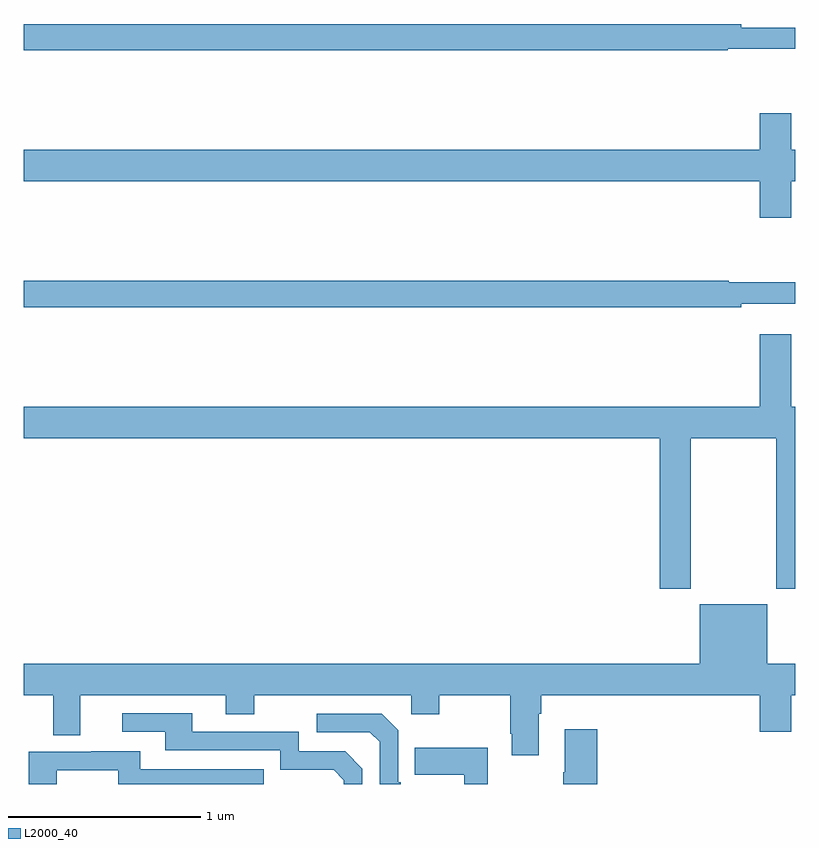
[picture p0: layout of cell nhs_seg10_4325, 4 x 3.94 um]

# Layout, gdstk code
import gdstk
lib = gdstk.Library(unit=1e-6, precision=1e-09)
def P(c, l, *ps):  # polygons
    for p in ps: c.add(gdstk.Polygon(p, *l))
L2000_40 = (2000, 40)

nhs_seg10_4325 = lib.new_cell('nhs_seg10_4325')
P(nhs_seg10_4325, L2000_40, [(356.65,1326.312),(357,1326.312),(357,1326.421),(356.72,1326.421),(356.72,1326.44),(353,1326.44),(353,1326.304),(356.65,1326.304)],
  [(356.98,1325.624),(357,1325.624),(357,1325.788),(356.98,1325.788),(356.98,1325.977),(356.816,1325.977),(356.816,1325.788),(353,1325.788),(353,1325.624),(356.816,1325.624),(356.816,1325.436),(356.98,1325.436)],
  [(356.72,1324.991),(357,1324.991),(357,1325.101),(356.655,1325.101),(356.655,1325.108),(353,1325.108),(353,1324.972),(356.72,1324.972)],
  [(356.457,1324.292),(356.902,1324.292),(356.902,1323.513),(357,1323.513),(357,1324.456),(356.98,1324.456),(356.98,1324.831),(356.816,1324.831),(356.816,1324.456),(353,1324.456),(353,1324.292),(356.297,1324.292),(356.297,1323.513),(356.457,1323.513)],
  [(355.669,1322.864),(355.682,1322.864),(355.682,1322.96),(356.816,1322.96),(356.816,1322.772),(356.98,1322.772),(356.98,1322.96),(357,1322.96),(357,1323.124),(356.854,1323.124),(356.854,1323.433),(356.504,1323.433),(356.504,1323.124),(353,1323.124),(353,1322.96),(353.153,1322.96),(353.153,1322.752),(353.293,1322.752),(353.293,1322.96),(354.047,1322.96),(354.047,1322.861),(354.195,1322.861),(354.195,1322.96),(355.008,1322.96),(355.008,1322.861),(355.155,1322.861),(355.155,1322.96),(355.522,1322.96),(355.522,1322.761),(355.529,1322.761),(355.529,1322.649),(355.669,1322.649)],
  [(354.756,1322.58),(354.666,1322.67),(354.426,1322.67),(354.426,1322.772),(353.875,1322.772),(353.875,1322.868),(353.511,1322.868),(353.511,1322.772),(353.735,1322.772),(353.735,1322.676),(354.33,1322.676),(354.33,1322.573),(354.607,1322.573),(354.66,1322.52),(354.66,1322.5),(354.756,1322.5)],
  [(354.955,1322.509),(354.942,1322.509),(354.942,1322.778),(354.855,1322.865),(354.519,1322.865),(354.519,1322.769),(354.795,1322.769),(354.846,1322.718),(354.846,1322.5),(354.955,1322.5)],
  [(355.973,1322.785),(355.805,1322.785),(355.805,1322.561),(355.798,1322.561),(355.798,1322.5),(355.973,1322.5)],
  [(355.405,1322.689),(355.027,1322.689),(355.027,1322.549),(355.284,1322.549),(355.284,1322.5),(355.405,1322.5)],
  [(353.172,1322.571),(353.49,1322.571),(353.49,1322.5),(354.245,1322.5),(354.245,1322.577),(353.605,1322.577),(353.605,1322.671),(353.351,1322.671),(353.351,1322.667),(353.027,1322.667),(353.027,1322.5),(353.172,1322.5)])

lib.write_gds('nhs_seg10_4325.gds')
